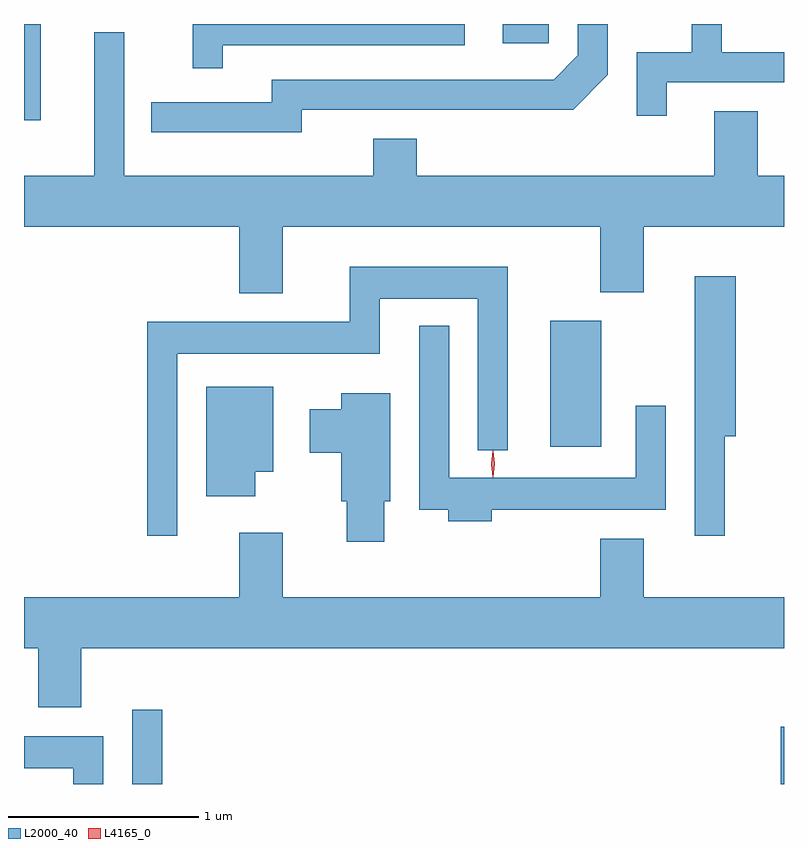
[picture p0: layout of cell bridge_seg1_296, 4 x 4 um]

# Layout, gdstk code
import gdstk
lib = gdstk.Library(unit=1e-6, precision=1e-09)
def R(c, l, rs):  # rectangles x0, y0, x1, y1
    for r in rs: c.add(gdstk.rectangle(r[:2], r[2:], *l))
def P(c, l, *ps):  # polygons
    for p in ps: c.add(gdstk.Polygon(p, *l))
L2000_40 = (2000, 40)
L4165_0 = (4165, 0)

bridge_seg1_296 = lib.new_cell('bridge_seg1_296')
R(bridge_seg1_296, L2000_40, [(846.126,881.102,846.284,881.493), (849.541,881.102,849.557,881.404), (848.326,882.876,848.594,883.539), (845.557,884.596,845.644,885.102), (848.078,885.001,848.319,885.102)])
P(bridge_seg1_296, L2000_40, [(847.019,884.651),(848.447,884.651),(848.629,884.834),(848.629,885.102),(848.471,885.102),(848.471,884.937),(848.344,884.809),(846.861,884.809),(846.861,884.689),(846.228,884.689),(846.228,884.531),(847.019,884.531)],
  [(848.939,884.796),(849.557,884.796),(849.557,884.954),(849.229,884.954),(849.229,885.102),(849.071,885.102),(849.071,884.954),(848.781,884.954),(848.781,884.618),(848.939,884.618)],
  [(846.604,884.991),(847.878,884.991),(847.878,885.102),(846.446,885.102),(846.446,884.868),(846.604,884.868)],
  [(846.919,884.036),(848.591,884.036),(848.591,883.691),(848.819,883.691),(848.819,884.036),(849.557,884.036),(849.557,884.304),(849.419,884.304),(849.419,884.644),(849.191,884.644),(849.191,884.304),(847.624,884.304),(847.624,884.499),(847.396,884.499),(847.396,884.304),(846.084,884.304),(846.084,885.058),(845.926,885.058),(845.926,884.304),(845.557,884.304),(845.557,884.036),(846.691,884.036),(846.691,883.686),(846.919,883.686)],
  [(846.364,883.366),(847.429,883.366),(847.429,883.656),(847.946,883.656),(847.946,882.858),(848.104,882.858),(848.104,883.824),(847.271,883.824),(847.271,883.534),(846.206,883.534),(846.206,882.408),(846.364,882.408)],
  [(849.244,882.931),(849.304,882.931),(849.304,883.774),(849.086,883.774),(849.086,882.408),(849.244,882.408)],
  [(848.019,882.546),(848.934,882.546),(848.934,883.093),(848.776,883.093),(848.776,882.714),(847.794,882.714),(847.794,883.513),(847.636,883.513),(847.636,882.546),(847.791,882.546),(847.791,882.486),(848.019,882.486)],
  [(846.774,882.746),(846.869,882.746),(846.869,883.194),(846.516,883.194),(846.516,882.616),(846.774,882.616)],
  [(847.454,882.591),(847.484,882.591),(847.484,883.159),(847.226,883.159),(847.226,883.074),(847.061,883.074),(847.061,882.846),(847.226,882.846),(847.226,882.591),(847.256,882.591),(847.256,882.376),(847.454,882.376)],
  [(845.859,881.816),(849.557,881.816),(849.557,882.084),(848.819,882.084),(848.819,882.394),(848.591,882.394),(848.591,882.084),(846.919,882.084),(846.919,882.424),(846.691,882.424),(846.691,882.084),(845.557,882.084),(845.557,881.816),(845.631,881.816),(845.631,881.506),(845.859,881.506)],
  [(845.974,881.354),(845.557,881.354),(845.557,881.186),(845.816,881.186),(845.816,881.102),(845.974,881.102)])
P(bridge_seg1_296, L4165_0, [(848.025,882.719),(848.024,882.72),(848.015,882.786),(848.024,882.852),(848.025,882.853),(848.025,882.852),(848.035,882.786),(848.025,882.72)],
  [(848.025,882.717),(848.025,882.717),(848.015,882.787),(848.025,882.856),(848.025,882.856),(848.026,882.856),(848.035,882.787),(848.026,882.717)])

lib.write_gds('bridge_seg1_296.gds')
